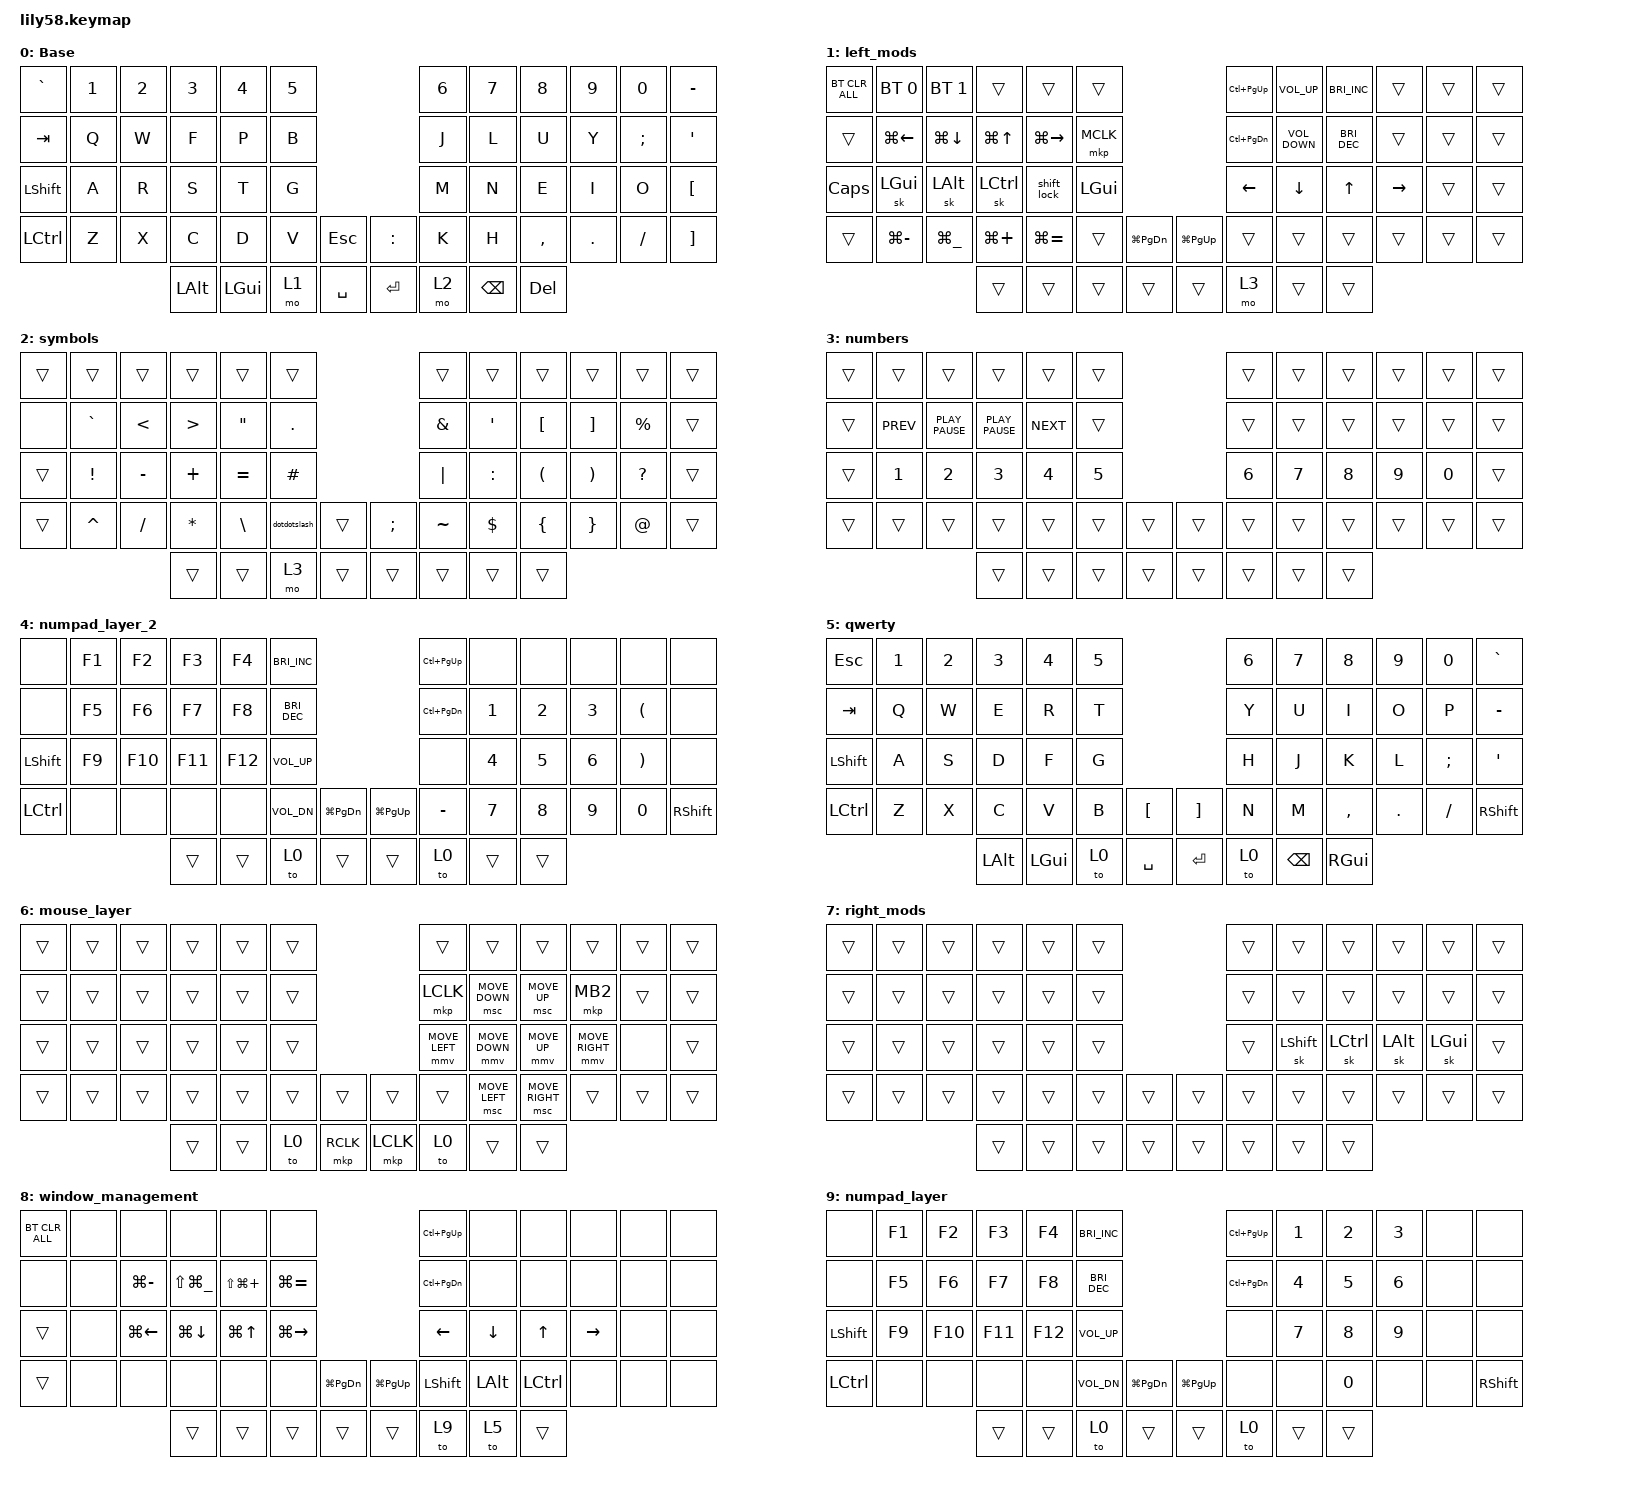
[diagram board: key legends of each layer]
/*
 * Copyright (c) 2020 The ZMK Contributors
 *
 * SPDX-License-Identifier: MIT
 */

#include "behaviors/mouse_keys.dtsi"
#include <dt-bindings/zmk/mouse.h>
#include <behaviors.dtsi>
#include <dt-bindings/zmk/bt.h>
#include <dt-bindings/zmk/keys.h>
#include <dt-bindings/zmk/pointing.h>

&sk {
    quick-release;
    lazy;
};

/ {
    combos {
        compatible = "zmk,combos";

        to-numpad {
            bindings = <&to 4>;
            key-positions = <19 20 21>;
        };

        to_qwerty {
            bindings = <&to 5>;
            key-positions = <16 15 14>;
        };

        tog_mouse {
            bindings = <&tog 6>;
            key-positions = <41 44>;
        };
    };

    macros {
        double_colon: double_colon {
            compatible = "zmk,behavior-macro";
            #binding-cells = <0>;
            bindings = <&kp COLON &kp COLON>;
            label = "DOUBLE_COLON";
        };

        dotdotslash: dotdotslash {
            compatible = "zmk,behavior-macro";
            #binding-cells = <0>;
            bindings = <&kp DOT &kp DOT &kp FSLH>;
            label = "DOTDOTSLASH";
        };
    };

    behaviors {
        shift_lock: shift_lock {
            compatible = "zmk,behavior-tap-dance";
            label = "SHIFT_LOCK";
            #binding-cells = <0>;
            bindings = <&sk LEFT_SHIFT>, <&kp CAPS>;
        };
    };

    keymap {
        compatible = "zmk,keymap";

        colemak_layer {
            // ------------------------------------------------------------------------------------------------------------
            // |  ESC  |  1  |  2  |  3   |  4   |  5   |                   |  6   |  7    |  8    |  9   |   0   |   `   |
            // |  TAB  |  Q  |  W  |  F   |  P   |  G   |                   |  J   |  L    |  U    |  Y   |   ;   |   -   |
            // |  CTRL |  A  |  R  |  S   |  T   |  D   |                   |  H   |  N    |  E    |  I   |   O   |   [   |
            // | SHIFT |  Z  |  X  |  C   |  V   |  B   |   ESC  |   COLON  |  K   |  M    |  ,    |  .   |   /   |   ]   |
            //                     | ALT  | GUI  | LOWER|  SPACE |  | ENTER | RAISE| BSPC  | GUI   |

            display-name = "Base";
            bindings = <
&kp GRAVE  &kp N1  &kp N2  &kp N3    &kp N4    &kp N5                          &kp N6  &kp N7    &kp N8      &kp N9   &kp N0         &kp MINUS
&kp TAB    &kp Q   &kp W   &kp F     &kp P     &kp B                           &kp J   &kp L     &kp U       &kp Y    &kp SEMICOLON  &kp APOSTROPHE
&kp LSHFT  &kp A   &kp R   &kp S     &kp T     &kp G                           &kp M   &kp N     &kp E       &kp I    &kp O          &kp LEFT_BRACKET
&kp LCTRL  &kp Z   &kp X   &kp C     &kp D     &kp V   &kp ESC      &kp COLON  &kp K   &kp H     &kp COMMA   &kp DOT  &kp FSLH       &kp RIGHT_BRACKET
                           &kp LALT  &kp LGUI  &mo 1   &kp SPACE    &kp RET    &mo 2   &kp BSPC  &kp DELETE
            >;
        };

        left_mods {
            bindings = <
&bt BT_CLR_ALL  &bt BT_SEL 0   &bt BT_SEL 1        &trans        &trans         &trans                                            &kp LC(PG_UP)  &kp C_VOLUME_UP    &kp C_BRIGHTNESS_INC  &trans     &trans  &trans
&trans          &kp LG(LEFT)   &kp LG(DOWN)        &kp LG(UP)    &kp LG(RIGHT)  &mkp MCLK                                         &kp LC(PG_DN)  &kp C_VOLUME_DOWN  &kp C_BRIGHTNESS_DEC  &trans     &trans  &trans
&kp CAPS        &sk LEFT_GUI   &sk LEFT_ALT        &sk LCTRL     &shift_lock    &kp LEFT_GUI                                      &kp LEFT       &kp DOWN           &kp UP                &kp RIGHT  &trans  &trans
&trans          &kp LG(MINUS)  &kp LG(UNDERSCORE)  &kp LG(PLUS)  &kp LG(EQUAL)  &trans        &kp LG(PAGE_DOWN)    &kp LG(PG_UP)  &trans         &trans             &trans                &trans     &trans  &trans
                                                   &trans        &trans         &trans        &trans               &trans         &mo 3          &trans             &trans
            >;
        };

        symbols {
            bindings = <
&trans  &trans           &trans         &trans            &trans             &trans                            &trans         &trans      &trans                &trans                 &trans        &trans
&none   &kp GRAVE        &kp LESS_THAN  &kp GREATER_THAN  &kp DOUBLE_QUOTES  &kp PERIOD                        &kp AMPERSAND  &kp SQT     &kp LEFT_BRACKET      &kp RIGHT_BRACKET      &kp PERCENT   &trans
&trans  &kp EXCLAMATION  &kp MINUS      &kp PLUS          &kp EQUAL          &kp HASH                          &kp PIPE       &kp COLON   &kp LEFT_PARENTHESIS  &kp RIGHT_PARENTHESIS  &kp QUESTION  &trans
&trans  &kp CARET        &kp SLASH      &kp ASTERISK      &kp BACKSLASH      &dotdotslash  &trans    &kp SEMI  &kp TILDE      &kp DOLLAR  &kp LEFT_BRACE        &kp RIGHT_BRACE        &kp AT_SIGN   &trans
                                        &trans            &trans             &mo 3         &trans    &trans    &trans         &trans      &trans
            >;
        };

        numbers {
            bindings = <
&trans  &trans      &trans            &trans            &trans      &trans                    &trans  &trans  &trans  &trans  &trans  &trans
&trans  &kp K_PREV  &kp K_PLAY_PAUSE  &kp K_PLAY_PAUSE  &kp K_NEXT  &trans                    &trans  &trans  &trans  &trans  &trans  &trans
&trans  &kp N1      &kp N2            &kp N3            &kp N4      &kp N5                    &kp N6  &kp N7  &kp N8  &kp N9  &kp N0  &trans
&trans  &trans      &trans            &trans            &trans      &trans  &trans    &trans  &trans  &trans  &trans  &trans  &trans  &trans
                                      &trans            &trans      &trans  &trans    &trans  &trans  &trans  &trans
            >;
        };

        numpad_layer_2 {
            bindings = <
&none      &kp F1  &kp F2   &kp F3   &kp F4   &kp C_BRIGHTNESS_INC                                      &kp LC(PAGE_UP)    &none   &none   &none   &none                  &none
&none      &kp F5  &kp F6   &kp F7   &kp F8   &kp C_BRIGHTNESS_DEC                                      &kp LC(PAGE_DOWN)  &kp N1  &kp N2  &kp N3  &kp LEFT_PARENTHESIS   &none
&kp LSHFT  &kp F9  &kp F10  &kp F11  &kp F12  &kp C_VOLUME_UP                                           &none              &kp N4  &kp N5  &kp N6  &kp RIGHT_PARENTHESIS  &none
&kp LCTRL  &none   &none    &none    &none    &kp C_VOL_DN          &kp LG(PAGE_DOWN)    &kp LG(PG_UP)  &kp MINUS          &kp N7  &kp N8  &kp N9  &kp N0                 &kp RIGHT_SHIFT
                            &trans   &trans   &to 0                 &trans               &trans         &to 0              &trans  &trans
            >;
        };

        qwerty {
            bindings = <
&kp ESC    &kp N1  &kp N2  &kp N3    &kp N4        &kp N5                         &kp N6  &kp N7    &kp N8         &kp N9   &kp N0    &kp GRAVE
&kp TAB    &kp Q   &kp W   &kp E     &kp R         &kp T                          &kp Y   &kp U     &kp I          &kp O    &kp P     &kp MINUS
&kp LSHFT  &kp A   &kp S   &kp D     &kp F         &kp G                          &kp H   &kp J     &kp K          &kp L    &kp SEMI  &kp SQT
&kp LCTRL  &kp Z   &kp X   &kp C     &kp V         &kp B   &kp LBKT     &kp RBKT  &kp N   &kp M     &kp COMMA      &kp DOT  &kp FSLH  &kp RSHFT
                           &kp LALT  &kp LEFT_GUI  &to 0   &kp SPACE    &kp RET   &to 0   &kp BSPC  &kp RIGHT_GUI
            >;
        };

        mouse_layer {
            bindings = <
&trans  &trans  &trans  &trans  &trans  &trans                          &trans          &trans          &trans           &trans           &trans  &trans
&trans  &trans  &trans  &trans  &trans  &trans                          &mkp LCLK       &msc MOVE_DOWN  &msc MOVE_UP     &mkp MB2         &trans  &trans
&trans  &trans  &trans  &trans  &trans  &trans                          &mmv MOVE_LEFT  &mmv MOVE_DOWN  &mmv MOVE_UP     &mmv MOVE_RIGHT  &none   &trans
&trans  &trans  &trans  &trans  &trans  &trans  &trans       &trans     &trans          &msc MOVE_LEFT  &msc MOVE_RIGHT  &trans           &trans  &trans
                        &trans  &trans  &to 0   &mkp RCLK    &mkp LCLK  &to 0           &trans          &trans
            >;
        };

        right_mods {
            bindings = <
&trans  &trans  &trans  &trans  &trans  &trans                    &trans  &trans          &trans     &trans        &trans        &trans
&trans  &trans  &trans  &trans  &trans  &trans                    &trans  &trans          &trans     &trans        &trans        &trans
&trans  &trans  &trans  &trans  &trans  &trans                    &trans  &sk LEFT_SHIFT  &sk LCTRL  &sk LEFT_ALT  &sk LEFT_GUI  &trans
&trans  &trans  &trans  &trans  &trans  &trans  &trans    &trans  &trans  &trans          &trans     &trans        &trans        &trans
                        &trans  &trans  &trans  &trans    &trans  &trans  &trans          &trans
            >;
        };

        window_management {
            bindings = <
&bt BT_CLR_ALL  &none  &none          &none              &none             &none                                              &kp LC(PG_UP)      &none         &none             &none      &none  &none
&none           &none  &kp LG(MINUS)  &kp LS(LG(UNDER))  &kp LS(LG(PLUS))  &kp LG(EQUAL)                                      &kp LC(PAGE_DOWN)  &none         &none             &none      &none  &none
&trans          &none  &kp LG(LEFT)   &kp LG(DOWN)       &kp LG(UP_ARROW)  &kp LG(RIGHT)                                      &kp LEFT           &kp DOWN      &kp UP            &kp RIGHT  &none  &none
&trans          &none  &none          &none              &none             &none          &kp LG(PAGE_DOWN)    &kp LG(PG_UP)  &kp LEFT_SHIFT     &kp LEFT_ALT  &kp LEFT_CONTROL  &none      &none  &none
                                      &trans             &trans            &trans         &trans               &trans         &to 9              &to 5         &trans
            >;
        };

        numpad_layer {
            bindings = <
&none      &kp F1  &kp F2   &kp F3   &kp F4   &kp C_BRIGHTNESS_INC                                      &kp LC(PAGE_UP)    &kp NUMBER_1  &kp NUMBER_2  &kp NUMBER_3  &none  &none
&none      &kp F5  &kp F6   &kp F7   &kp F8   &kp C_BRIGHTNESS_DEC                                      &kp LC(PAGE_DOWN)  &kp NUMBER_4  &kp NUMBER_5  &kp NUMBER_6  &none  &none
&kp LSHFT  &kp F9  &kp F10  &kp F11  &kp F12  &kp C_VOLUME_UP                                           &none              &kp NUMBER_7  &kp N8        &kp NUMBER_9  &none  &none
&kp LCTRL  &none   &none    &none    &none    &kp C_VOL_DN          &kp LG(PAGE_DOWN)    &kp LG(PG_UP)  &none              &none         &kp NUMBER_0  &none         &none  &kp RIGHT_SHIFT
                            &trans   &trans   &to 0                 &trans               &trans         &to 0              &trans        &trans
            >;
        };
    };
};
